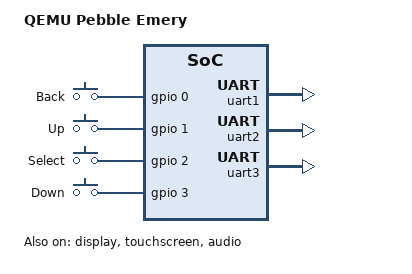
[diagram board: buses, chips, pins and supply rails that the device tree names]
// SPDX-FileCopyrightText: 2026 Core Devices LLC
// SPDX-License-Identifier: (GPL-2.0-only OR BSD-2-Clause)

/dts-v1/;

#include "qemu/pebble-cortex-m33.dtsi"

#include <dt-bindings/input/input.h>

/ {
	model = "QEMU Pebble Emery";

	compatible = "qemu,pebble-emery";

	buttons: gpio-keys {
		compatible = "gpio-keys";

		button-back {
			label = "Back";
			gpios = <&gpio 0 GPIO_ACTIVE_HIGH>;
			linux,code = <KEY_BACK>;
			debounce-interval = <0>;
		};

		button-up {
			label = "Up";
			gpios = <&gpio 1 GPIO_ACTIVE_HIGH>;
			linux,code = <KEY_UP>;
			debounce-interval = <0>;
		};

		button-select {
			label = "Select";
			gpios = <&gpio 2 GPIO_ACTIVE_HIGH>;
			linux,code = <KEY_SELECT>;
			debounce-interval = <0>;
		};

		button-down {
			label = "Down";
			gpios = <&gpio 3 GPIO_ACTIVE_HIGH>;
			linux,code = <KEY_DOWN>;
			debounce-interval = <0>;
		};
	};

	speaker: sound-speaker {
		compatible = "simple-audio-card";
		simple-audio-card,name = "speaker";

		simple-audio-card,cpu {
			sound-dai = <&audio>;
		};
	};
};

&uart1 {
	status = "okay";
};

&uart2 {
	status = "okay";
};

&uart3 {
	status = "okay";
};

&gpio {
	status = "okay";
};

&display {
	width = <200>;
	height = <228>;
	bits-per-pixel = <8>;
	status = "okay";
};

&touchscreen {
	touchscreen-size-x = <200>;
	touchscreen-size-y = <228>;
	status = "okay";
};

&audio {
	status = "okay";
};

&flash0 {
	status = "okay";

	partitions {
		compatible = "fixed-partitions";
		#address-cells = <1>;
		#size-cells = <1>;

		partition@0 {
			label = "ptable";
			reg = <0x0 0x10000>;
		};

		partition@10000 {
			label = "bootloader";
			reg = <0x10000 0x10000>;
		};

		partition@20000 {
			label = "firmware-slot-0";
			reg = <0x20000 0x300000>;
		};

		partition@320000 {
			label = "firmware-slot-1";
			reg = <0x320000 0x300000>;
		};

		partition@620000 {
			label = "system-resources-bank-0";
			reg = <0x620000 0x200000>;
		};

		partition@820000 {
			label = "system-resources-bank-1";
			reg = <0x820000 0x200000>;
		};

		partition@a20000 {
			label = "safe-firmware";
			reg = <0xa20000 0x90000>;
		};

		partition@ab0000 {
			label = "filesystem";
			reg = <0xab0000 0x1490000>;
		};

		partition@1f40000 {
			label = "cd";
			reg = <0x1f40000 0x80000>;
		};

		partition@1fcf000 {
			label = "debug-db";
			reg = <0x1fcf000 0x20000>;
		};

		partition@1ffb000 {
			label = "mfg-results";
			reg = <0x1ffb000 0x1000>;
		};

		partition@1ffc000 {
			label = "mfg-battery-state";
			reg = <0x1ffc000 0x1000>;
		};

		partition@1ffd000 {
			label = "tzinfo";
			reg = <0x1ffd000 0x1000>;
		};

		partition@1ffe000 {
			label = "mfg-info";
			reg = <0x1ffe000 0x1000>;
		};

		partition@1fff000 {
			label = "shared-prf-storage";
			reg = <0x1fff000 0x1000>;
		};
	};
};
